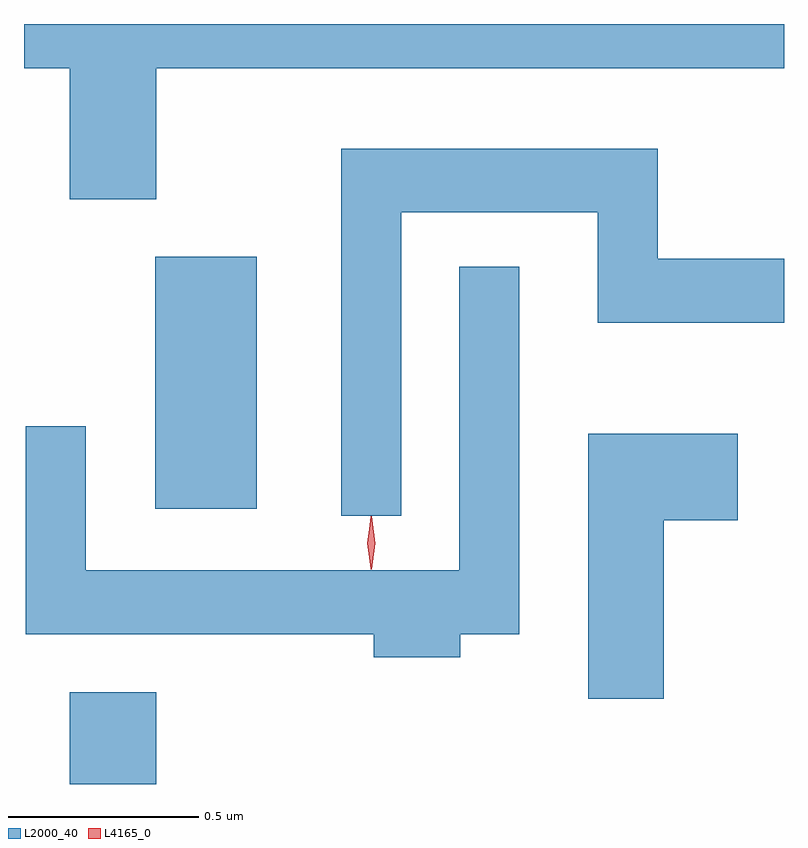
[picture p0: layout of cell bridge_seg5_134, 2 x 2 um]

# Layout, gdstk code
import gdstk
lib = gdstk.Library(unit=1e-6, precision=1e-09)
def R(c, l, rs):  # rectangles x0, y0, x1, y1
    for r in rs: c.add(gdstk.rectangle(r[:2], r[2:], *l))
def P(c, l, *ps):  # polygons
    for p in ps: c.add(gdstk.Polygon(p, *l))
L2000_40 = (2000, 40)
L4165_0 = (4165, 0)

bridge_seg5_134 = lib.new_cell('bridge_seg5_134')
R(bridge_seg5_134, L2000_40, [(1168.901,1414.952,1169.129,1415.194), (1169.126,1415.676,1169.394,1416.339)])
P(bridge_seg5_134, L2000_40, [(1169.129,1416.836),(1170.781,1416.836),(1170.781,1416.952),(1168.781,1416.952),(1168.781,1416.836),(1168.901,1416.836),(1168.901,1416.491),(1169.129,1416.491)],
  [(1169.774,1416.456),(1170.291,1416.456),(1170.291,1416.166),(1170.781,1416.166),(1170.781,1416.334),(1170.449,1416.334),(1170.449,1416.624),(1169.616,1416.624),(1169.616,1415.658),(1169.774,1415.658)],
  [(1169.929,1415.346),(1170.084,1415.346),(1170.084,1416.313),(1169.926,1416.313),(1169.926,1415.514),(1168.944,1415.514),(1168.944,1415.893),(1168.786,1415.893),(1168.786,1415.346),(1169.701,1415.346),(1169.701,1415.286),(1169.929,1415.286)],
  [(1170.464,1415.646),(1170.659,1415.646),(1170.659,1415.874),(1170.266,1415.874),(1170.266,1415.176),(1170.464,1415.176)])
P(bridge_seg5_134, L4165_0, [(1169.694,1415.517),(1169.685,1415.586),(1169.694,1415.656),(1169.695,1415.656),(1169.696,1415.656),(1169.705,1415.586),(1169.696,1415.517),(1169.695,1415.517)],
  [(1169.694,1415.519),(1169.694,1415.52),(1169.684,1415.586),(1169.694,1415.652),(1169.694,1415.653),(1169.694,1415.652),(1169.704,1415.586),(1169.694,1415.52)])

lib.write_gds('bridge_seg5_134.gds')
